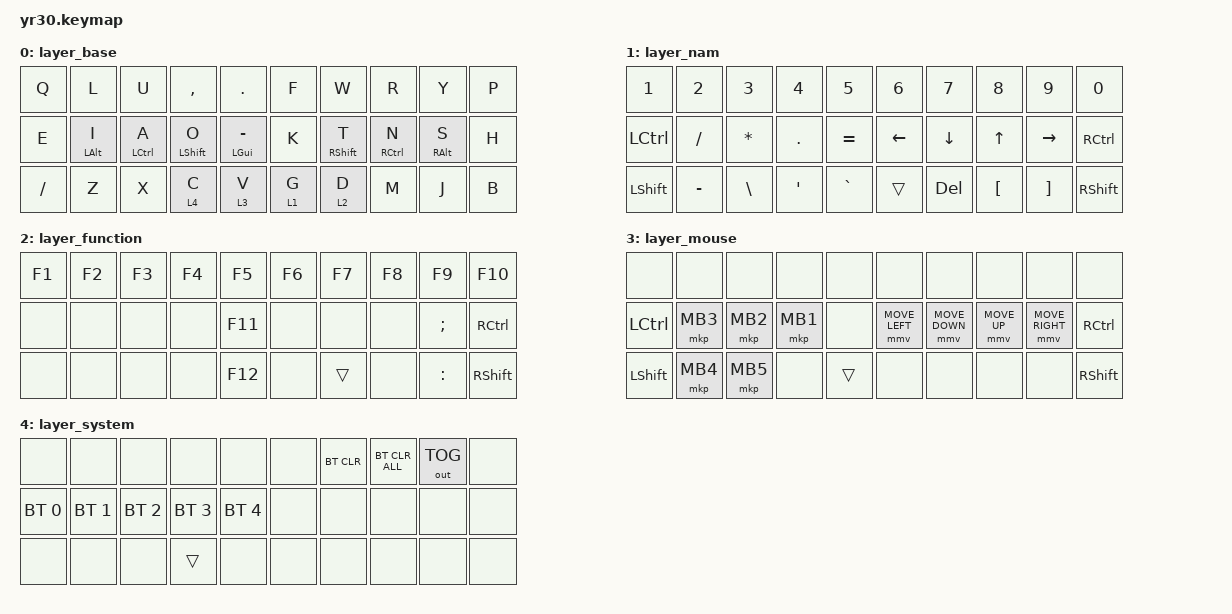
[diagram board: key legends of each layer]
// デフォルトキーマップは大西配列を使わせて貰ってる。

// 定義を呼ぶ。
#include <behaviors.dtsi>
#include <dt-bindings/zmk/keys.h>
#include <dt-bindings/zmk/mouse.h>
#include <dt-bindings/zmk/bt.h>
#include <dt-bindings/zmk/outputs.h>
#include <dt-bindings/zmk/pointing.h>


// 特殊入力の挙動を調整する。

&mt {
    flavor = "tap-preferred";
    tapping-term-ms = <225>;
    quick-tap-ms = <200>;
    require-prior-idle-ms = <150>;
};

&lt {
    flavor = "balanced";
    tapping-term-ms = <175>;
    quick-tap-ms = <200>;
};

&sk {
};

&sl {
};

&caps_word {
};

&key_repeat {
};


/ {
    // 独自の入力を定義できる（上級者向け）

    behaviors {
    };

    macros {
    };

    conditional_layers {
    };


    // 複数キーの同時押し(Combo)の設定。
    // キー番号早見表：
    //  0  1  2  3  4  5  6  7  8  9
    // 10 11 12 13 14 15 16 17 18 19
    // 20 21 22 23 24 25 26 27 28 29

    combos {
        compatible = "zmk,combos";
        timeout-ms = <100>;
        require-prior-idle-ms = <150>;

        combo_enter {
            key-positions = <17 18>;
            bindings = <&kp ENTER>;
        };

        combo_bs {
            key-positions = <16 17>;
            bindings = <&kp BACKSPACE>;
        };

        combo_space {
            key-positions = <11 12>;
            bindings = <&kp SPACE>;
        };

        combo_tab {
            key-positions = <12 13>;
            bindings = <&kp TAB>;
        };

        combo_shiftspace {
            key-positions = <1 2>;
            bindings = <&kp LS(SPACE)>;
        };

        combo_esc {
            key-positions = <8 9>;
            bindings = <&kp ESC>;
        };

        combo_home {
            key-positions = <15 16>;
            bindings = <&kp HOME>;
        };

        combo_end {
            key-positions = <25 26>;
            bindings = <&kp END>;
        };

        combo_pageup {
            key-positions = <26 27>;
            bindings = <&kp PG_UP>;
        };

        combo_pagedown {
            key-positions = <27 28>;
            bindings = <&kp PG_DN>;
        };

        combo_insert {
            key-positions = <6 7>;
            bindings = <&kp INS>;
        };

        combo_capslock {
            key-positions = <0 1>;
            bindings = <&kp CAPSLOCK>;
        };

        combo_lang2 {
            key-positions = <23 24>;
            bindings = <&kp LANG2>;
        };

        combo_lang1 {
            key-positions = <22 23>;
            bindings = <&kp LANG1>;
        };

        combo_reset_L {
            key-positions = <0 10 20>;
            bindings = <&bootloader>;
        };

        combo_reset_R {
            key-positions = <9 19 29>;
            bindings = <&bootloader>;
        };

        combo_studio_unlock {
            key-positions = <0 1 8 9>;
            bindings = <&studio_unlock>;
        };
    };

    // キーに入力を割り当てる
    // 型（&...）は https://zmk.dev/docs/behaviors/... を参照
    // キーコードは https://zmk.dev/docs/codes/... を参照

    keymap {
        compatible = "zmk,keymap";

        layer_base {
            bindings = <
            &kp Q        &kp L        &kp U        &kp COMMA     &kp PERIOD     &kp F       &kp W       &kp R        &kp Y       &kp P
            &kp E        &mt LALT I   &mt LCTRL A  &mt LSHFT O   &mt LGUI MINUS &kp K       &mt RSHFT T &mt RCTRL N  &mt RALT S  &kp H
            &kp SLASH    &kp Z        &kp X        &lt 4 C       &lt 3 V        &lt 1 G     &lt 2 D     &kp M        &kp J       &kp B
            >;
        };

        layer_nam {
            bindings = <
            &kp N1       &kp N2       &kp N3       &kp N4        &kp N5         &kp N6      &kp N7      &kp N8       &kp N9      &kp N0
            &kp LCTRL    &kp SLASH    &kp ASTERISK &kp PERIOD    &kp EQUAL      &kp LEFT    &kp DOWN    &kp UP       &kp RIGHT   &kp RCTRL
            &kp LSHFT    &kp MINUS    &kp BSLH     &kp SQT       &kp GRAVE      &trans      &kp DEL     &kp LBKT     &kp RBKT    &kp RSHFT
            >;
        };

        layer_function {
            bindings = <
            &kp F1       &kp F2       &kp F3       &kp F4        &kp F5         &kp F6   &kp F7    &kp F8    &kp F9          &kp F10
            &none        &none        &none        &none         &kp F11        &none    &none     &none     &kp SEMICOLON   &kp RCTRL
            &none        &none        &none        &none         &kp F12        &none    &trans    &none     &kp COLON       &kp RSHFT
            >;
        };

        layer_mouse {
            bindings = <
            &none        &none        &none        &none         &none          &none          &none          &none        &none           &none
            &kp LCTRL    &mkp MB3     &mkp MB2     &mkp MB1      &none          &mmv MOVE_LEFT &mmv MOVE_DOWN &mmv MOVE_UP &mmv MOVE_RIGHT &kp RCTRL
            &kp LSHFT    &mkp MB4     &mkp MB5     &none         &trans         &none          &none          &none        &none           &kp RSHFT
            >;
        };

        layer_system {
            bindings = <
            &none        &none        &none         &none        &none          &none          &bt BT_CLR &bt BT_CLR_ALL &out OUT_TOG &none
            &bt BT_SEL 0 &bt BT_SEL 1 &bt BT_SEL 2  &bt BT_SEL 3 &bt BT_SEL 4   &none          &none      &none          &none        &none
            &none        &none        &none         &trans       &none          &none          &none      &none          &none        &none
            >;
        };
    };
};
